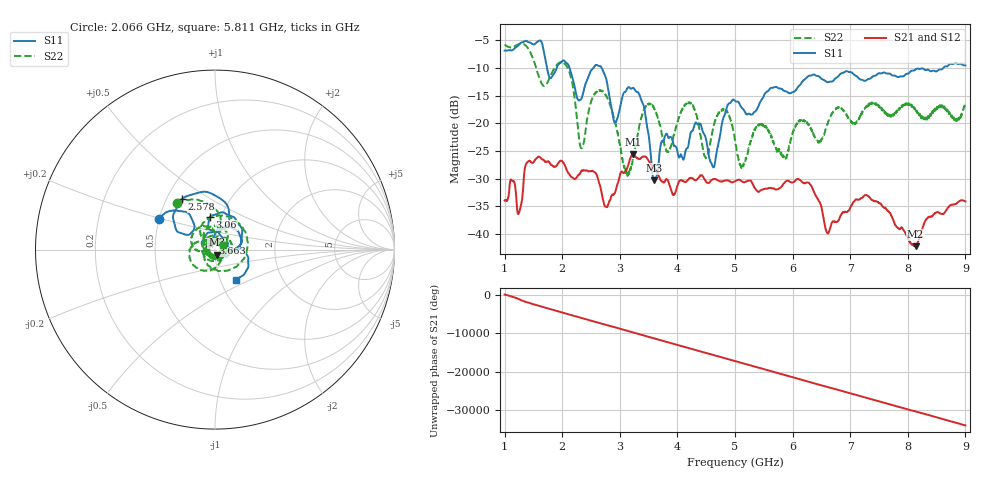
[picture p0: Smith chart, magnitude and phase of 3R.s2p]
!Keysight Technologies N9915A: A.10.33
!Date: Tuesday, 12 May 2020 14:14:21
!Timezone: (UTC+08:00) Perth
!Model: N9915A
!Serial: MY53102697
!GPS Latitude:
!GPS Longitude:
!GPS TimeStamp: 0001-01-01 00:00:00Z
!GPS Seconds Since Last Read: 0
!CHECKSUM:1017261828
!Correction: S11(ON U)S21(ON U)S12(ON U)S22(ON U)
!S2P File: Measurements:S11,S21,S12,S22:
# Hz S DB R 50
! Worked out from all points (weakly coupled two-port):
!   10001 points, 1 GHz to 9 GHz, reference 50 ohm
!   highest |S21| = -25.56 dB at 3.229 GHz (marker M1); lowest = -42.2 dB at 8.135 GHz (marker M2)
!   lowest |S11| = -30.3 dB at 3.594 GHz (marker M3), VSWR 1.06, Z = 50.9 - j2.92 ohm
!   |S11| at or under -10 dB: 1.736 GHz to 1.903 GHz (167.6 MHz wide, 9.21 % of centre); 2.129 GHz to 2.542 GHz (413.1 MHz wide, 17.7 % of centre); 2.687 GHz to 8.614 GHz (5.927 GHz wide, 105 % of centre)
!   |S22| runs from -29.5 to -5.6 dB; largest |S21 - S12| = 0.0014
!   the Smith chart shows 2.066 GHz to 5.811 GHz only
!   S11 on the Smith chart (normalised r, x): 2.066 GHz: 0.50, +0.20; 2.578 GHz: 0.60, +0.38; 3.06 GHz: 0.89, +0.33; 3.663 GHz: 0.97, +0.07; 5.811 GHz: 1.19, -0.42
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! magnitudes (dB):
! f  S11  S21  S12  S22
! 1 GHz  -6.9  -34.0  -34.1  -5.7
! 1.678 GHz  -6.9  -26.6  -26.7  -13.2
! 2.066 GHz  -9.0  -28.1  -28.2  -9.5
! 2.334 GHz  -15.5  -28.6  -28.6  -24.5
! 2.578 GHz  -9.5  -29.0  -29.0  -14.5
! 2.914 GHz  -19.9  -32.6  -32.6  -19.6
! 3.06 GHz  -14.7  -29.0  -29.0  -27.2
! 3.229 GHz  -13.6  -25.6  -25.6  -26.8
! 3.594 GHz  -30.3  -28.1  -28.1  -17.3
! 3.663 GHz  -28.4  -29.1  -29.1  -19.0
! 3.667 GHz  -28.1  -29.3  -29.3  -19.0
! 3.838 GHz  -22.5  -30.3  -30.4  -25.1
! 4.345 GHz  -20.2  -30.1  -30.1  -19.2
! 4.489 GHz  -22.6  -30.4  -30.4  -26.2
! 4.622 GHz  -28.0  -30.1  -30.1  -20.6
! 5 GHz  -15.9  -30.5  -30.5  -23.0
! 5.811 GHz  -13.8  -31.4  -31.4  -25.9
! 6.334 GHz  -11.3  -31.5  -31.6  -21.2
! 6.607 GHz  -12.6  -39.9  -39.9  -20.1
! 7.667 GHz  -11.0  -35.9  -36.0  -18.4
! 8.135 GHz  -10.3  -42.2  -42.0  -17.5
! 9 GHz  -9.5  -34.1  -33.7  -16.5
